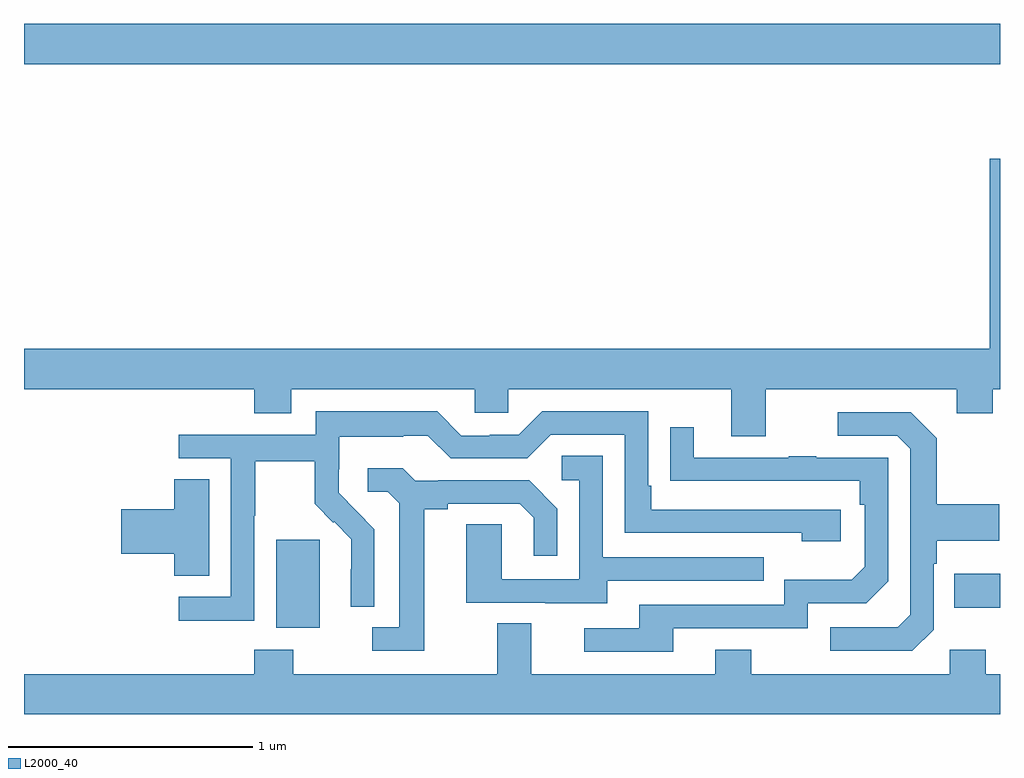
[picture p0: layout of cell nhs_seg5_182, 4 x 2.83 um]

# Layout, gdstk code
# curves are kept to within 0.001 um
import gdstk
lib = gdstk.Library(unit=1e-6, precision=1e-09)
def R(c, l, rs):  # rectangles x0, y0, x1, y1
    for r in rs: c.add(gdstk.rectangle(r[:2], r[2:], *l))
def P(c, l, *ps):  # polygons
    for p in ps: c.add(gdstk.Polygon(p, *l))
L2000_40 = (2000, 40)

nhs_seg5_182 = lib.new_cell('nhs_seg5_182')
R(nhs_seg5_182, L2000_40, [(122.033,859.778,122.212,860.139), (124.813,859.859,125,859.999), (121,862.088,125,862.252)])
P(nhs_seg5_182, L2000_40, [(124.039,860.756),(124.823,860.756),(124.823,860.657),(124.971,860.657),(124.971,860.756),(125,860.756),(125,861.7),(124.958,861.7),(124.958,860.92),(121,860.92),(121,860.756),(121.943,860.756),(121.943,860.657),(122.095,860.657),(122.095,860.756),(122.847,860.756),(122.847,860.658),(122.985,860.658),(122.985,860.756),(123.899,860.756),(123.899,860.562),(124.039,860.562)],
  [(121.944,860.236),(121.947,860.236),(121.947,860.46),(122.191,860.46),(122.191,860.285),(122.268,860.208),(122.271,860.211),(122.342,860.141),(122.342,860.018),(122.34,860.018),(122.34,859.864),(122.436,859.864),(122.436,860.182),(122.29,860.33),(122.29,860.427),(122.292,860.427),(122.292,860.561),(122.555,860.561),(122.555,860.565),(122.655,860.565),(122.748,860.472),(123.063,860.472),(123.159,860.568),(123.462,860.568),(123.462,860.166),(124.187,860.166),(124.187,860.132),(124.348,860.132),(124.348,860.262),(123.571,860.262),(123.571,860.359),(123.558,860.359),(123.558,860.664),(123.123,860.664),(123.027,860.568),(122.909,860.568),(122.909,860.565),(122.793,860.565),(122.693,860.665),(122.196,860.665),(122.196,860.568),(121.635,860.568),(121.635,860.472),(121.848,860.472),(121.848,859.905),(121.635,859.905),(121.635,859.807),(121.944,859.807)],
  [(124.728,859.77),(124.728,860.039),(124.741,860.039),(124.741,860.135),(124.997,860.135),(124.997,860.283),(124.741,860.283),(124.741,860.555),(124.635,860.661),(124.335,860.661),(124.335,860.565),(124.578,860.565),(124.632,860.511),(124.632,859.83),(124.581,859.779),(124.305,859.779),(124.305,859.683),(124.641,859.683)],
  [(123.661,859.776),(124.212,859.776),(124.212,859.878),(124.452,859.878),(124.542,859.968),(124.542,860.475),(124.247,860.475),(124.247,860.48),(124.135,860.48),(124.135,860.475),(123.745,860.475),(123.745,860.599),(123.649,860.599),(123.649,860.38),(124.426,860.379),(124.426,860.282),(124.446,860.282),(124.446,860.028),(124.393,859.975),(124.116,859.975),(124.116,859.872),(123.521,859.872),(123.521,859.776),(123.297,859.776),(123.297,859.68),(123.661,859.68)],
  [(123.391,859.971),(124.031,859.971),(124.031,860.067),(123.372,860.067),(123.372,860.483),(123.204,860.483),(123.204,860.382),(123.276,860.382),(123.276,859.977),(122.958,859.977),(122.958,860.201),(122.813,860.201),(122.813,859.881),(123.137,859.881),(123.137,859.877),(123.391,859.877)],
  [(122.641,860.264),(122.737,860.264),(122.737,860.286),(123.032,860.286),(123.089,860.229),(123.089,860.073),(123.186,860.073),(123.186,860.266),(123.07,860.382),(122.698,860.382),(122.698,860.379),(122.604,860.379),(122.552,860.431),(122.409,860.431),(122.409,860.334),(122.49,860.334),(122.537,860.287),(122.537,859.779),(122.427,859.779),(122.427,859.683),(122.641,859.683)],
  [(121.759,860.387),(121.616,860.387),(121.616,860.264),(121.398,860.264),(121.398,860.081),(121.616,860.081),(121.616,859.99),(121.759,859.99)],
  [(125,859.588),(124.941,859.588),(124.941,859.687),(124.794,859.687),(124.794,859.588),(123.981,859.588),(123.981,859.687),(123.833,859.687),(123.833,859.588),(123.079,859.588),(123.079,859.796),(122.939,859.796),(122.939,859.588),(122.103,859.588),(122.103,859.687),(121.943,859.687),(121.943,859.588),(121,859.588),(121,859.424),(125,859.424)])

lib.write_gds('nhs_seg5_182.gds')
